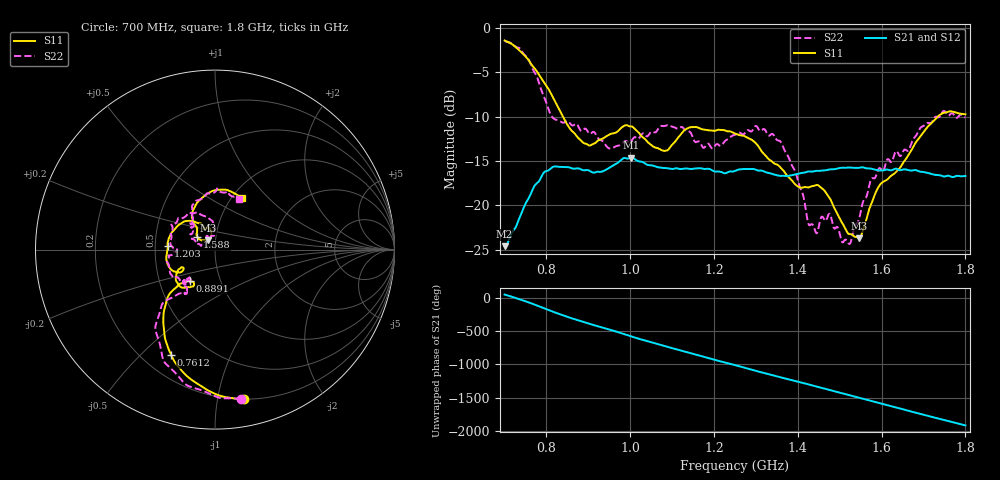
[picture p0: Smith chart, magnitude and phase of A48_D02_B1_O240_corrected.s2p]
! Created with skrf 1.9.0 (http://scikit-rf.org).
# Hz S RI R 50.0
!freq ReS11 ImS11 ReS21 ImS21 ReS12 ImS12 ReS22 ImS22
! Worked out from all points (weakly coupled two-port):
!   1601 points, 700 MHz to 1.8 GHz, reference 50 ohm
!   highest |S21| = -14.61 dB at 1.002 GHz (marker M1); lowest = -24.6 dB at 700 MHz (marker M2)
!   lowest |S11| = -23.7 dB at 1.546 GHz (marker M3), VSWR 1.14, Z = 46 + j4.84 ohm
!   |S11| at or under -10 dB: 839 MHz to 1.734 GHz (894.9 MHz wide, 69.6 % of centre)
!   |S22| runs from -24.4 to -1.5 dB; largest |S21 - S12| = 0.0035
!   S11 on the Smith chart (normalised r, x): 700 MHz: 0.20, -1.19; 761.2 MHz: 0.31, -0.62; 889.1 MHz: 0.71, -0.26; 1.203 GHz: 0.58, +0.02; 1.588 GHz: 0.81, +0.12; 1.8 GHz: 1.11, +0.72
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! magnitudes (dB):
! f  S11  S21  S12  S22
! 700 MHz  -1.4  -24.6  -24.4  -1.5
! 761.2 MHz  -3.9  -18.8  -18.7  -4.0
! 814.1 MHz  -7.7  -15.7  -15.7  -10.1
! 883.6 MHz  -12.7  -16.0  -15.9  -11.6
! 889.1 MHz  -13.0  -16.0  -16.0  -11.4
! 950.2 MHz  -12.0  -15.8  -15.8  -13.6
! 1.002 GHz  -11.1  -14.6  -14.7  -12.8
! 1.067 GHz  -13.6  -15.7  -15.6  -11.3
! 1.141 GHz  -11.2  -15.9  -15.9  -11.7
! 1.203 GHz  -11.6  -16.2  -16.2  -13.2
! 1.25 GHz  -11.9  -16.1  -16.0  -12.0
! 1.3 GHz  -13.0  -16.0  -16.0  -11.0
! 1.359 GHz  -15.7  -16.7  -16.6  -12.8
! 1.394 GHz  -17.7  -16.5  -16.5  -16.2
! 1.434 GHz  -17.8  -16.2  -16.2  -22.1
! 1.476 GHz  -19.1  -16.0  -16.0  -20.9
! 1.522 GHz  -23.2  -15.7  -15.7  -24.3
! 1.546 GHz  -23.7  -15.8  -15.7  -21.5
! 1.588 GHz  -18.4  -16.0  -16.0  -16.5
! 1.617 GHz  -16.9  -16.0  -16.0  -14.8
! 1.737 GHz  -9.9  -16.6  -16.6  -10.1
! 1.8 GHz  -9.7  -16.7  -16.7  -10.1
